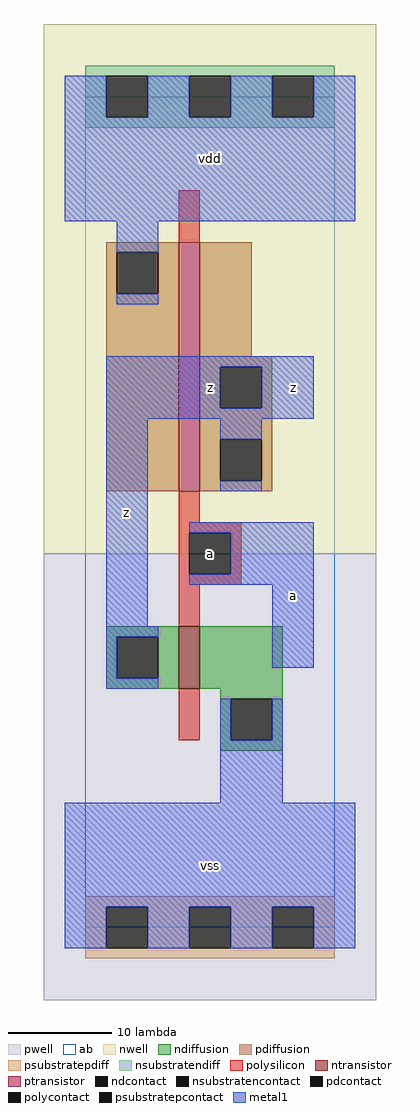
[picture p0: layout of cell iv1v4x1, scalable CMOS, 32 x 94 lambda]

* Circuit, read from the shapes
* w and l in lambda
.subckt iv1v4x1 a vdd vss z
M1 vss a z vss nfet w=6 l=2
M2 z a vdd vdd pfet w=24 l=2
.ends

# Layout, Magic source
magic
tech scmos
<< ab >>
rect 0 0 24 80
<< pwell >>
rect -4 -7 28 36
<< nwell >>
rect -4 36 28 87
<< polysilicon >>
rect 9 66 11 71
rect 9 39 11 42
rect 9 38 15 39
rect 9 34 10 38
rect 14 34 15 38
rect 9 33 15 34
rect 9 29 11 33
rect 9 18 11 23
<< ndiffusion >>
rect 2 28 9 29
rect 2 24 3 28
rect 7 24 9 28
rect 2 23 9 24
rect 11 23 19 29
rect 13 22 19 23
rect 13 18 14 22
rect 18 18 19 22
rect 13 17 19 18
<< pdiffusion >>
rect 2 65 9 66
rect 2 61 3 65
rect 7 61 9 65
rect 2 42 9 61
rect 11 55 16 66
rect 11 54 18 55
rect 11 50 13 54
rect 17 50 18 54
rect 11 47 18 50
rect 11 43 13 47
rect 17 43 18 47
rect 11 42 18 43
<< metal1 >>
rect -2 78 2 82
rect 6 78 10 82
rect 14 78 18 82
rect 22 78 26 82
rect -2 68 26 78
rect 3 65 7 68
rect 3 60 7 61
rect 2 54 22 55
rect 2 50 13 54
rect 17 50 22 54
rect 2 49 22 50
rect 2 29 6 49
rect 13 47 17 49
rect 13 42 17 43
rect 10 38 22 39
rect 14 34 22 38
rect 10 33 22 34
rect 2 28 7 29
rect 2 24 3 28
rect 18 25 22 33
rect 2 23 7 24
rect 13 18 14 22
rect 18 18 19 22
rect 13 12 19 18
rect -2 2 26 12
rect -2 -2 2 2
rect 6 -2 10 2
rect 14 -2 18 2
rect 22 -2 26 2
<< ntransistor >>
rect 9 23 11 29
<< ptransistor >>
rect 9 42 11 66
<< polycontact >>
rect 10 34 14 38
<< ndcontact >>
rect 3 24 7 28
rect 14 18 18 22
<< pdcontact >>
rect 3 61 7 65
rect 13 50 17 54
rect 13 43 17 47
<< psubstratepcontact >>
rect 2 -2 6 2
rect 10 -2 14 2
rect 18 -2 22 2
<< nsubstratencontact >>
rect 2 78 6 82
rect 10 78 14 82
rect 18 78 22 82
<< psubstratepdiff >>
rect 0 2 24 3
rect 0 -2 2 2
rect 6 -2 10 2
rect 14 -2 18 2
rect 22 -2 24 2
rect 0 -3 24 -2
<< nsubstratendiff >>
rect 0 82 24 83
rect 0 78 2 82
rect 6 78 10 82
rect 14 78 18 82
rect 22 78 24 82
rect 0 77 24 78
<< labels >>
rlabel metal1 4 40 4 40 6 z
rlabel metal1 12 6 12 6 6 vss
rlabel polycontact 12 36 12 36 6 a
rlabel metal1 12 52 12 52 6 z
rlabel metal1 12 74 12 74 6 vdd
rlabel metal1 20 32 20 32 6 a
rlabel metal1 20 52 20 52 6 z
<< end >>
